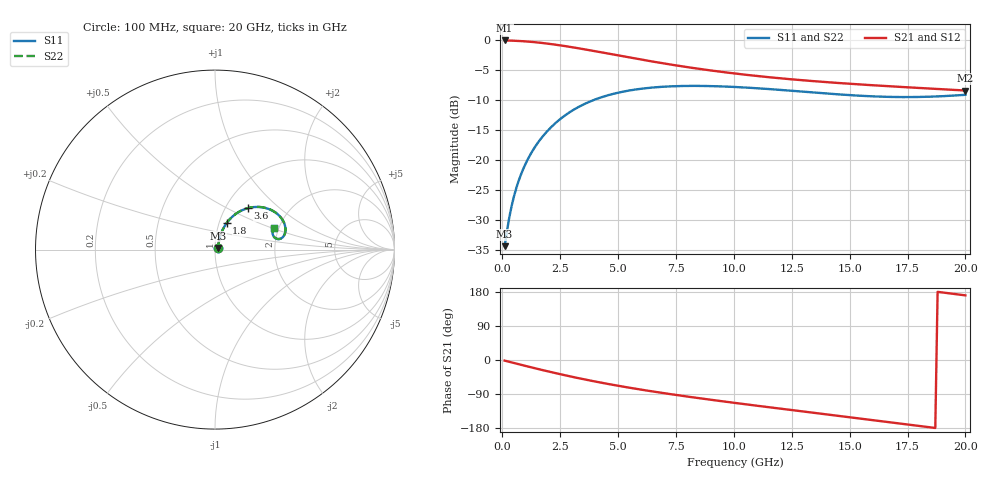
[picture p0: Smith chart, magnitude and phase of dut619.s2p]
! Touchstone file exported from HFSS 2024.1.0
!  File:  C:/UserFiles/LocalFiles/RDL_TSV_Batchsim/temp_RDL_TSV_619_1779801606.aedt
!  Generated:  09:38:19 PM May 26, 2026
!  Design:  RDL_TSV
!  Project:  temp_RDL_TSV_619_1779801606
!  Setup:  Setup1
!  Solution:  Sweep
! Variables:
!  dtsv = 5.62um
!  hbump = 3um
!  htsv = 65.13um
!  ldown = 408.83um
!  lrdl = 406.35um
!  p = 40
!  p1 = 52.5um
!  rhole = 10um
!  subl = 2851.89um
!  t = 450um
!  tdown = 4.83um
!  trdl = 4.31um
!  viad = 10um
!  wdown = 12.71um
!  wrdl = 16.38um
!  xbump = 18um
# GHz S MA R 50.000000
! Terminal data exported
! Port[1] = TM1_1_T1
! Port[2] = TM1_4_T1
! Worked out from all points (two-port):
!   200 points, 100 MHz to 20 GHz, reference 50 ohm
!   highest |S21| = -0.15 dB at 100 MHz (marker M1); lowest = -8.5 dB at 20 GHz (marker M2)
!   |S21| within 3 dB of the highest: start of sweep to 5.745 GHz
!   lowest |S11| = -34.3 dB at 100 MHz (marker M3), VSWR 1.04, Z = 51.7 + j0.965 ohm
!   |S11| at or under -10 dB: start of sweep to 3.975 GHz
!   |S22| runs from -34.3 to -7.7 dB; largest |S21 - S12| = 2.3e-14
!   S11 on the Smith chart (normalised r, x): 100 MHz: 1.03, +0.02; 1.8 GHz: 1.09, +0.33; 3.6 GHz: 1.27, +0.64; 20 GHz: 1.88, +0.51
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0.1  0.01925 29.0  0.9831 -1.6  0.9831 -1.6  0.01925 29.0
! Gamma 0 0 0 0
! Port Impedance 50 0 50 0
0.3  0.03314 55.5  0.9811 -4.8  0.9811 -4.8  0.03314 55.5
0.4  0.04124 60.8  0.9797 -6.3  0.9797 -6.3  0.04124 60.8
0.5  0.04956 64.1  0.978 -7.9  0.978 -7.9  0.04956 64.1
0.7  0.06656 67.5  0.9739 -11.0  0.9739 -11.0  0.06656 67.6
0.9  0.08383 68.9  0.9687 -14.1  0.9687 -14.1  0.08383 68.9
1.2  0.1099 69.1  0.959 -18.6  0.959 -18.6  0.1099 69.1
1.8  0.1616 66.3  0.9333 -27.5  0.9333 -27.5  0.1616 66.3
2.6  0.2263 60.2  0.8895 -38.8  0.8895 -38.8  0.2264 60.2
3.5  0.2888 52.4  0.8333 -50.6  0.8333 -50.6  0.2889 52.5
3.6  0.2949 51.5  0.8268 -51.8  0.8268 -51.8  0.295 51.6
4.3  0.3327 45.6  0.7821 -60.2  0.7821 -60.2  0.3329 45.7
5  0.362 40.0  0.7389 -68.0  0.7389 -68.0  0.3623 40.1
5.9  0.3884 33.6  0.6875 -77.3  0.6875 -77.3  0.3887 33.7
6.8  0.4041 28.0  0.6419 -85.9  0.6419 -85.9  0.4044 28.0
8.3  0.4125 20.4  0.5786 -99.1  0.5786 -99.1  0.4129 20.5
10.1  0.4035 14.0  0.5211 -113.7  0.5211 -113.7  0.4039 14.1
11.7  0.3859 10.6  0.483 -126.1  0.483 -126.1  0.3864 10.7
13.4  0.364 9.3  0.4523 -138.9  0.4523 -138.9  0.3645 9.4
15.1  0.3447 10.3  0.4283 -151.8  0.4283 -151.8  0.3452 10.4
16.7  0.3342 13.1  0.4097 -164.0  0.4097 -164.0  0.3347 13.2
20  0.3479 20.2  0.3774 170.6  0.3774 170.6  0.3484 20.3
